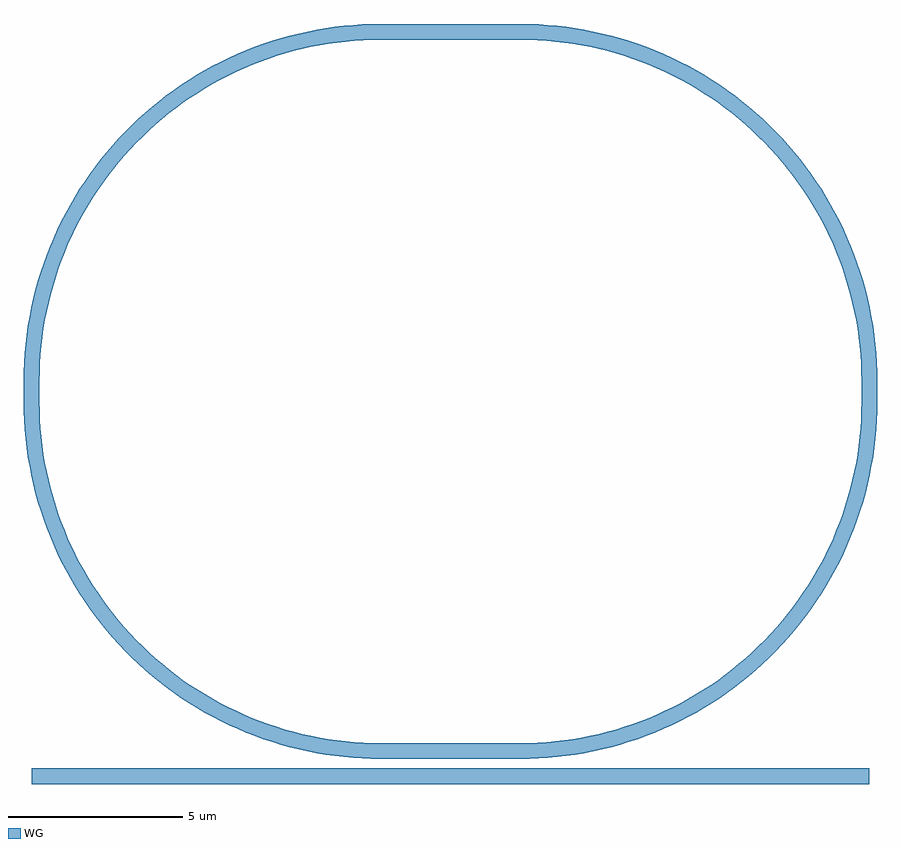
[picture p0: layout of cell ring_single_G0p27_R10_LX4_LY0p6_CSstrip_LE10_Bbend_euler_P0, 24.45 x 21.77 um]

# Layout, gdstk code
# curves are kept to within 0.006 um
from math import pi, radians
import gdstk
lib = gdstk.Library(unit=1e-6, precision=1e-09)
def R(c, l, rs):  # rectangles x0, y0, x1, y1
    for r in rs: c.add(gdstk.rectangle(r[:2], r[2:], *l))
def P(c, l, *ps):  # polygons
    for p in ps: c.add(gdstk.Polygon(p, *l))
WG = (3, 0)

coupler_ring_lx4_g0p27_r = lib.new_cell('coupler_ring_LX4_G0p27_R10_Bbend_euler_R10_A90_P0_WNone_891ab821')
R(coupler_ring_lx4_g0p27_r, WG, [(-14,-0.225,10,0.225)])
P(coupler_ring_lx4_g0p27_r, WG, [(-4,0.495),(-4.526,0.509),(-5.051,0.549),(-5.574,0.617),(-6.092,0.711),(-6.349,0.768),(-6.858,0.902),(-7.359,1.063),(-7.852,1.248),(-8.335,1.459),(-8.572,1.574),(-9.036,1.821),(-9.488,2.092),(-9.925,2.386),(-10.346,2.702),(-10.75,3.04),(-11.136,3.397),(-11.504,3.774),(-11.852,4.17),(-12.178,4.583),(-12.483,5.012),(-12.766,5.456),(-13.025,5.914),(-13.261,6.385),(-13.472,6.868),(-13.657,7.361),(-13.818,7.862),(-13.952,8.371),(-14.009,8.628),(-14.103,9.146),(-14.171,9.669),(-14.211,10.194),(-14.225,10.72),(-13.775,10.72),(-13.772,10.468),(-13.746,9.966),(-13.694,9.465),(-13.617,8.968),(-13.514,8.475),(-13.453,8.231),(-13.312,7.747),(-13.147,7.272),(-12.957,6.806),(-12.744,6.35),(-12.507,5.905),(-12.248,5.474),(-11.967,5.056),(-11.818,4.853),(-11.506,4.458),(-11.174,4.08),(-10.64,3.546),(-10.262,3.214),(-10.066,3.055),(-9.664,2.753),(-9.246,2.472),(-8.815,2.213),(-8.37,1.976),(-8.144,1.867),(-7.683,1.665),(-7.211,1.488),(-6.732,1.335),(-6.245,1.206),(-5.752,1.103),(-5.255,1.026),(-4.754,0.974),(-4.252,0.948),(-4,0.945),(0.252,0.948),(0.754,0.974),(1.005,0.997),(1.504,1.061),(1.752,1.103),(2.245,1.206),(2.732,1.335),(3.211,1.488),(3.683,1.665),(4.144,1.867),(4.594,2.092),(5.032,2.34),(5.457,2.61),(5.867,2.902),(6.262,3.214),(6.64,3.546),(7.174,4.08),(7.506,4.458),(7.818,4.853),(8.11,5.263),(8.38,5.688),(8.507,5.905),(8.744,6.35),(8.853,6.576),(9.055,7.037),(9.147,7.272),(9.312,7.747),(9.453,8.231),(9.514,8.475),(9.617,8.968),(9.694,9.465),(9.746,9.966),(9.772,10.468),(9.775,10.72),(10.225,10.72),(10.211,10.194),(10.171,9.669),(10.103,9.146),(10.009,8.628),(9.952,8.371),(9.818,7.862),(9.741,7.61),(9.568,7.113),(9.369,6.625),(9.146,6.148),(8.899,5.684),(8.628,5.232),(8.334,4.795),(8.018,4.374),(7.852,4.17),(7.504,3.774),(7.323,3.584),(6.946,3.216),(6.55,2.868),(6.346,2.702),(5.925,2.386),(5.488,2.092),(5.036,1.821),(4.572,1.574),(4.335,1.459),(3.852,1.248),(3.359,1.063),(2.858,0.902),(2.349,0.768),(1.833,0.661),(1.574,0.617),(1.051,0.549),(0.789,0.525),(0.263,0.498)])

bend_euler_r10_a90_p0_wn = lib.new_cell('bend_euler_R10_A90_P0_WNone_CSstrip_AMRVFalse')
P(bend_euler_r10_a90_p0_wn, WG, [(0,-0.225),(0,0.225),(0.252,0.228),(0.754,0.254),(1.255,0.306),(1.752,0.383),(2.245,0.486),(2.732,0.615),(3.211,0.768),(3.683,0.945),(4.144,1.147),(4.37,1.256),(4.815,1.493),(5.246,1.752),(5.664,2.033),(6.066,2.335),(6.262,2.494),(6.64,2.826),(6.822,3),(7.174,3.36),(7.506,3.738),(7.665,3.934),(7.967,4.336),(8.248,4.754),(8.38,4.968),(8.507,5.185),(8.744,5.63),(8.957,6.086),(9.147,6.552),(9.312,7.027),(9.453,7.511),(9.514,7.755),(9.617,8.248),(9.694,8.745),(9.746,9.246),(9.772,9.748),(9.775,10),(10.225,10),(10.211,9.474),(10.171,8.949),(10.103,8.426),(10.009,7.908),(9.952,7.651),(9.818,7.142),(9.657,6.641),(9.472,6.148),(9.261,5.665),(9.146,5.428),(8.899,4.964),(8.628,4.512),(8.334,4.075),(8.018,3.654),(7.68,3.25),(7.323,2.864),(6.946,2.496),(6.55,2.148),(6.137,1.822),(5.708,1.517),(5.264,1.234),(4.806,0.975),(4.335,0.739),(3.852,0.528),(3.359,0.343),(2.858,0.182),(2.349,0.048),(2.092,-0.009),(1.574,-0.103),(1.051,-0.171),(0.526,-0.211)])

straight_l4_csstrip_wnon = lib.new_cell('straight_L4_CSstrip_WNone_N2')
R(straight_l4_csstrip_wnon, WG, [(0,-0.225,4,0.225)])

straight_l0p6_csstrip_wn = lib.new_cell('straight_L0p6_CSstrip_WNone_N2')
R(straight_l0p6_csstrip_wn, WG, [(0,-0.225,0.6,0.225)])

ring_single_g0p27_r10_lx = lib.new_cell('ring_single_G0p27_R10_LX4_LY0p6_CSstrip_LE10_Bbend_euler_P0')
ring_single_g0p27_r10_lx.add(gdstk.Reference(coupler_ring_lx4_g0p27_r, (0,0)))
ring_single_g0p27_r10_lx.add(gdstk.Reference(bend_euler_r10_a90_p0_wn, (-4,21.32), rotation=pi))
ring_single_g0p27_r10_lx.add(gdstk.Reference(bend_euler_r10_a90_p0_wn, (10,11.32), rotation=pi/2))
ring_single_g0p27_r10_lx.add(gdstk.Reference(straight_l4_csstrip_wnon, (0,21.32), rotation=pi))
ring_single_g0p27_r10_lx.add(gdstk.Reference(straight_l0p6_csstrip_wn, (-14,10.72), rotation=pi/2))
ring_single_g0p27_r10_lx.add(gdstk.Reference(straight_l0p6_csstrip_wn, (10,11.32), rotation=3*pi/2))

lib.write_gds('ring_single_G0p27_R10_LX4_LY0p6_CSstrip_LE10_Bbend_euler_P0.gds')
